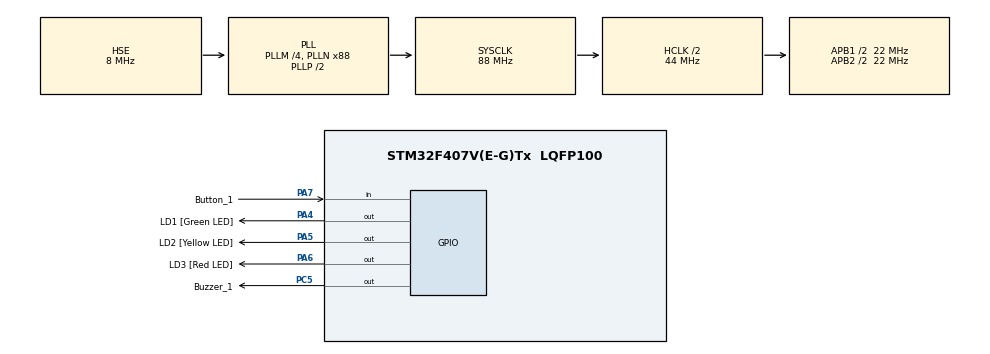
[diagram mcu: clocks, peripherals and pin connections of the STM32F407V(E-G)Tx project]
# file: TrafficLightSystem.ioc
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Mcu.Family=STM32F4
Mcu.Name=STM32F407V(E-G)Tx
Mcu.Package=LQFP100
NVIC.PriorityGroup=NVIC_PRIORITYGROUP_0
NVIC.RCC_IRQn=true\:0\:0\:false\:false\:true\:true\:false\:true
NVIC.TIM2_IRQn=true\:0\:0\:false\:false\:true\:true\:true\:true
PA4.GPIO_Label=LD1 [Green LED]
PA4.GPIO_Speed=GPIO_SPEED_FREQ_HIGH
PA4.Signal=GPIO_Output
PA5.GPIO_Label=LD2 [Yellow LED]
PA5.GPIO_Speed=GPIO_SPEED_FREQ_HIGH
PA5.Signal=GPIO_Output
PA6.GPIO_Label=LD3 [Red LED]
PA6.GPIO_Speed=GPIO_SPEED_FREQ_HIGH
PA6.Signal=GPIO_Output
PA7.GPIO_Label=Button_1
PA7.Signal=GPIO_Input
PC14-OSC32_IN.Mode=LSE-External-Oscillator
PC14-OSC32_IN.Signal=RCC_OSC32_IN
PC15-OSC32_OUT.Mode=LSE-External-Oscillator
PC15-OSC32_OUT.Signal=RCC_OSC32_OUT
PC5.GPIO_Label=Buzzer_1
PC5.Signal=GPIO_Output
PH0-OSC_IN.Mode=HSE-External-Oscillator
PH0-OSC_IN.Signal=RCC_OSC_IN
PH1-OSC_OUT.Mode=HSE-External-Oscillator
PH1-OSC_OUT.Signal=RCC_OSC_OUT
ProjectManager.HeapSize=0x200
ProjectManager.StackSize=0x400
ProjectManager.TargetToolchain=STM32CubeIDE
RCC.48MHZClocksFreq_Value=25142857.14285714
RCC.AHBCLKDivider=RCC_SYSCLK_DIV2
RCC.AHBFreq_Value=44000000
RCC.APB1CLKDivider=RCC_HCLK_DIV2
RCC.APB1Freq_Value=22000000
RCC.APB1TimFreq_Value=44000000
RCC.APB2CLKDivider=RCC_HCLK_DIV2
RCC.APB2Freq_Value=22000000
RCC.APB2TimFreq_Value=44000000
RCC.CortexFreq_Value=44000000
RCC.HCLKFreq_Value=44000000
RCC.HSE_VALUE=8000000
RCC.HSI_VALUE=16000000
RCC.PLLM=4
RCC.PLLN=88
RCC.PLLQ=7
RCC.PLLSourceVirtual=RCC_PLLSOURCE_HSE
RCC.SYSCLKFreq_VALUE=88000000
RCC.SYSCLKSource=RCC_SYSCLKSOURCE_PLLCLK
RCC.VCOOutputFreq_Value=176000000
TIM2.AutoReloadPreload=TIM_AUTORELOAD_PRELOAD_DISABLE
TIM2.Period=18000
TIM2.Prescaler=60000
VP_TIM2_VS_ClockSourceINT.Mode=Internal
board=STM32F407G-DISC1

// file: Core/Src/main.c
/* USER CODE BEGIN Header */
/**
  ******************************************************************************
  * @file           : main.c
  * @brief          : Main program body
  ******************************************************************************
  * @attention
  *
  * Copyright (c) 2023 STMicroelectronics.
  * All rights reserved.
  *
  * This software is licensed under terms that can be found in the LICENSE file
  * in the root directory of this software component.
  * If no LICENSE file comes with this software, it is provided AS-IS.
  *
  ******************************************************************************
  */
/* USER CODE END Header */
#include "main.h"

TIM_HandleTypeDef htim2;

/* USER CODE BEGIN PV */
volatile uint8_t timer_flag = 0;

/* USER CODE END PV */

void SystemClock_Config(void);
static void MX_GPIO_Init(void);
static void MX_TIM2_Init(void);

int main(void)
{

  /* MCU Configuration--------------------------------------------------------*/

  /* Reset of all peripherals, Initializes the Flash interface and the Systick. */
  HAL_Init();

  /* Configure the system clock */
  SystemClock_Config();

  /* Initialize all configured peripherals */
  MX_GPIO_Init();
  MX_TIM2_Init();
  /* USER CODE BEGIN 2 */
  uint8_t button_isr = 0;

  HAL_TIM_Base_Start_IT(&htim2);
  /* USER CODE END 2 */

  /* Infinite loop */
  /* USER CODE BEGIN WHILE */
  while (1)
  {
	button_isr = HAL_GPIO_ReadPin(Button_1_GPIO_Port, Button_1_Pin);
	if ((button_isr == 1) || (timer_flag == 1)) {
		HAL_Delay(3200);
		HAL_GPIO_WritePin(GPIOA, LD1_Pin, GPIO_PIN_RESET);
		HAL_Delay(200);
		HAL_GPIO_WritePin(GPIOA, LD2_Pin, GPIO_PIN_SET);
		HAL_Delay(3000);
		HAL_GPIO_WritePin(GPIOA, LD2_Pin, GPIO_PIN_RESET);
		HAL_Delay(200);
		HAL_GPIO_WritePin(GPIOA, LD3_Pin, GPIO_PIN_SET);

		for (int count = 0; count <= 10; count += 1) {
			HAL_GPIO_WritePin(Buzzer_1_GPIO_Port, Buzzer_1_Pin, GPIO_PIN_SET);
			HAL_Delay(100);
			HAL_GPIO_WritePin(Buzzer_1_GPIO_Port, Buzzer_1_Pin, GPIO_PIN_RESET);
			HAL_Delay(100);
			HAL_GPIO_WritePin(Buzzer_1_GPIO_Port, Buzzer_1_Pin, GPIO_PIN_SET);
			HAL_Delay(100);
			HAL_GPIO_WritePin(Buzzer_1_GPIO_Port, Buzzer_1_Pin, GPIO_PIN_RESET);
			HAL_Delay(100);
			HAL_GPIO_WritePin(Buzzer_1_GPIO_Port, Buzzer_1_Pin, GPIO_PIN_SET);
			HAL_Delay(100);
			HAL_GPIO_WritePin(Buzzer_1_GPIO_Port, Buzzer_1_Pin, GPIO_PIN_RESET);
			HAL_Delay(500);
		}

		HAL_Delay(1400);
		HAL_GPIO_WritePin(GPIOA, LD3_Pin, GPIO_PIN_RESET);
		HAL_GPIO_WritePin(Buzzer_1_GPIO_Port, Buzzer_1_Pin, GPIO_PIN_RESET);
		button_isr = 0;
		timer_flag = 0;
	}
	else {
		HAL_GPIO_WritePin(GPIOA, LD1_Pin, GPIO_PIN_SET);
	}

    /* USER CODE END WHILE */

  }
}

void SystemClock_Config(void)
{
  RCC_OscInitTypeDef RCC_OscInitStruct = {0};
  RCC_ClkInitTypeDef RCC_ClkInitStruct = {0};

  /** Configure the main internal regulator output voltage
  */
  __HAL_RCC_PWR_CLK_ENABLE();
  __HAL_PWR_VOLTAGESCALING_CONFIG(PWR_REGULATOR_VOLTAGE_SCALE1);

  /** Initializes the RCC Oscillators according to the specified parameters
  * in the RCC_OscInitTypeDef structure.
  */
  RCC_OscInitStruct.OscillatorType = RCC_OSCILLATORTYPE_HSE;
  RCC_OscInitStruct.HSEState = RCC_HSE_ON;
  RCC_OscInitStruct.PLL.PLLState = RCC_PLL_ON;
  RCC_OscInitStruct.PLL.PLLSource = RCC_PLLSOURCE_HSE;
  RCC_OscInitStruct.PLL.PLLM = 4;
  RCC_OscInitStruct.PLL.PLLN = 88;
  RCC_OscInitStruct.PLL.PLLP = RCC_PLLP_DIV2;
  RCC_OscInitStruct.PLL.PLLQ = 7;
  if (HAL_RCC_OscConfig(&RCC_OscInitStruct) != HAL_OK)
  {
    Error_Handler();
  }

  /** Initializes the CPU, AHB and APB buses clocks
  */
  RCC_ClkInitStruct.ClockType = RCC_CLOCKTYPE_HCLK|RCC_CLOCKTYPE_SYSCLK
                              |RCC_CLOCKTYPE_PCLK1|RCC_CLOCKTYPE_PCLK2;
  RCC_ClkInitStruct.SYSCLKSource = RCC_SYSCLKSOURCE_PLLCLK;
  RCC_ClkInitStruct.AHBCLKDivider = RCC_SYSCLK_DIV2;
  RCC_ClkInitStruct.APB1CLKDivider = RCC_HCLK_DIV2;
  RCC_ClkInitStruct.APB2CLKDivider = RCC_HCLK_DIV2;

  if (HAL_RCC_ClockConfig(&RCC_ClkInitStruct, FLASH_LATENCY_1) != HAL_OK)
  {
    Error_Handler();
  }
}

static void MX_TIM2_Init(void)
{

  TIM_ClockConfigTypeDef sClockSourceConfig = {0};
  TIM_MasterConfigTypeDef sMasterConfig = {0};

  htim2.Instance = TIM2;
  htim2.Init.Prescaler = 60000;
  htim2.Init.CounterMode = TIM_COUNTERMODE_UP;
  htim2.Init.Period = 18000;
  htim2.Init.ClockDivision = TIM_CLOCKDIVISION_DIV1;
  htim2.Init.AutoReloadPreload = TIM_AUTORELOAD_PRELOAD_DISABLE;
  if (HAL_TIM_Base_Init(&htim2) != HAL_OK)
  {
    Error_Handler();
  }
  sClockSourceConfig.ClockSource = TIM_CLOCKSOURCE_INTERNAL;
  if (HAL_TIM_ConfigClockSource(&htim2, &sClockSourceConfig) != HAL_OK)
  {
    Error_Handler();
  }
  sMasterConfig.MasterOutputTrigger = TIM_TRGO_RESET;
  sMasterConfig.MasterSlaveMode = TIM_MASTERSLAVEMODE_DISABLE;
  if (HAL_TIMEx_MasterConfigSynchronization(&htim2, &sMasterConfig) != HAL_OK)
  {
    Error_Handler();
  }

}

static void MX_GPIO_Init(void)
{
  GPIO_InitTypeDef GPIO_InitStruct = {0};

  /* GPIO Ports Clock Enable */
  __HAL_RCC_GPIOC_CLK_ENABLE();
  __HAL_RCC_GPIOH_CLK_ENABLE();
  __HAL_RCC_GPIOA_CLK_ENABLE();

  /*Configure GPIO pin Output Level */
  HAL_GPIO_WritePin(GPIOA, LD1_Pin|LD2_Pin|LD3_Pin, GPIO_PIN_RESET);

  /*Configure GPIO pin Output Level */
  HAL_GPIO_WritePin(Buzzer_1_GPIO_Port, Buzzer_1_Pin, GPIO_PIN_RESET);

  /*Configure GPIO pins : LD1_Pin LD2_Pin LD3_Pin */
  GPIO_InitStruct.Pin = LD1_Pin|LD2_Pin|LD3_Pin;
  GPIO_InitStruct.Mode = GPIO_MODE_OUTPUT_PP;
  GPIO_InitStruct.Pull = GPIO_NOPULL;
  GPIO_InitStruct.Speed = GPIO_SPEED_FREQ_HIGH;
  HAL_GPIO_Init(GPIOA, &GPIO_InitStruct);

  /*Configure GPIO pin : Button_1_Pin */
  GPIO_InitStruct.Pin = Button_1_Pin;
  GPIO_InitStruct.Mode = GPIO_MODE_INPUT;
  GPIO_InitStruct.Pull = GPIO_NOPULL;
  HAL_GPIO_Init(Button_1_GPIO_Port, &GPIO_InitStruct);

  /*Configure GPIO pin : Buzzer_1_Pin */
  GPIO_InitStruct.Pin = Buzzer_1_Pin;
  GPIO_InitStruct.Mode = GPIO_MODE_OUTPUT_PP;
  GPIO_InitStruct.Pull = GPIO_NOPULL;
  GPIO_InitStruct.Speed = GPIO_SPEED_FREQ_LOW;
  HAL_GPIO_Init(Buzzer_1_GPIO_Port, &GPIO_InitStruct);

}

/* USER CODE BEGIN 4 */
void HAL_TIM_PeriodElapsedCallback(TIM_HandleTypeDef *htim) {
	if(htim == &htim2) {
		timer_flag = 1;
	}
}

/* USER CODE END 4 */

void Error_Handler(void)
{
  __disable_irq();
  while (1)
  {
  }
}
